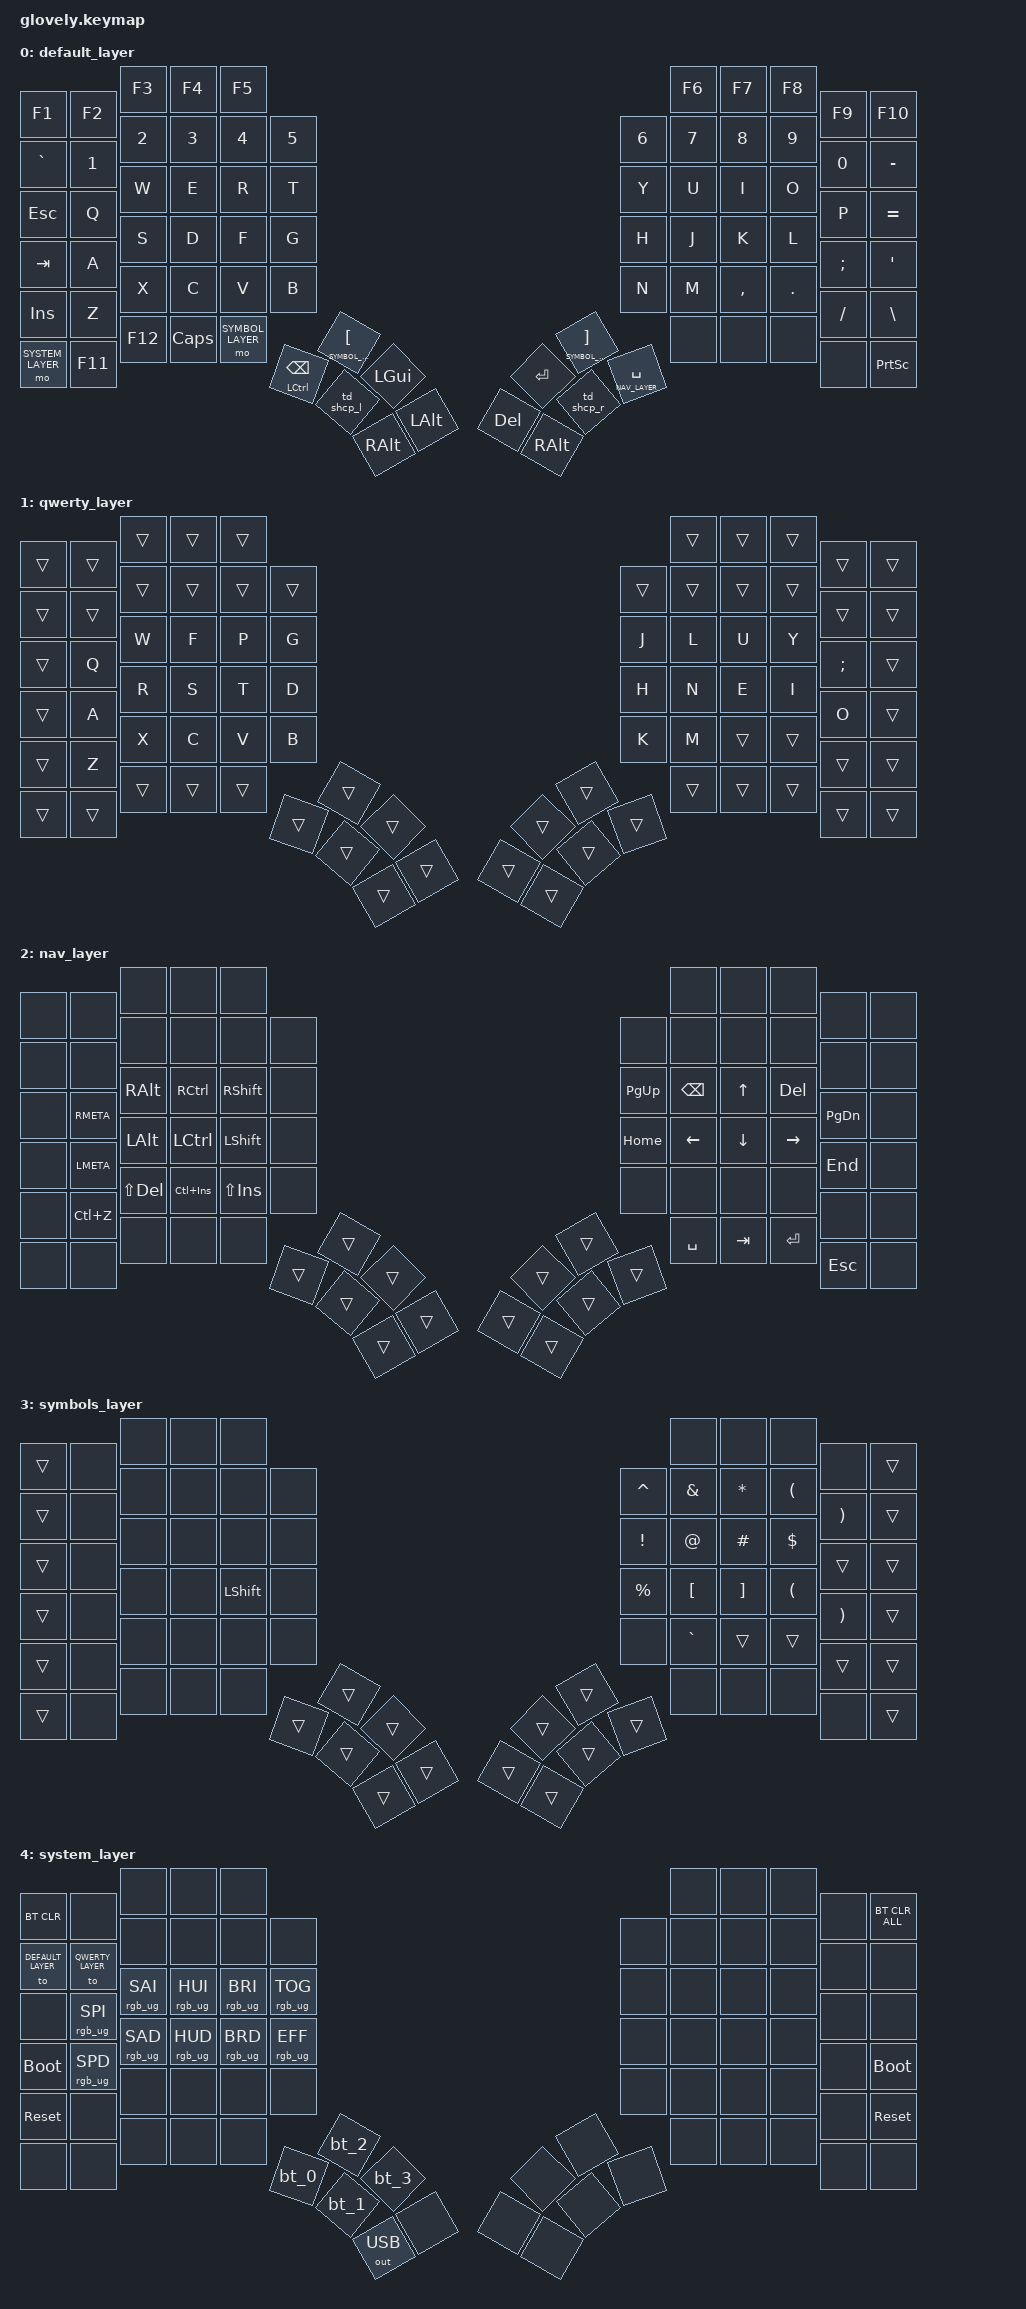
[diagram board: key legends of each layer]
#include <behaviors.dtsi>
#include <dt-bindings/zmk/keys.h>
#include <dt-bindings/zmk/bt.h>
#include <dt-bindings/zmk/ext_power.h>
#include <dt-bindings/zmk/outputs.h>
#include <dt-bindings/zmk/rgb.h>

// layers
#define DEFAULT_LAYER 0
#define QWERTY_LAYER 1
#define NAV_LAYER 2
#define SYMBOL_LAYER 3
#define SYSTEM_LAYER 4

//
// Glove80 key positions index for positional hold-tap
// - https: //discord.com/channels/877392805654306816/937645688244826154/1066713913351221248
// - https: //media.discordapp.net/attachments/937645688244826154/1066713913133121556/image.png
//
// |------------------------|------------------------|
// | LEFT_HAND_KEYS         |        RIGHT_HAND_KEYS |
// |                        |                        |
// |  0  1  2  3  4         |          5  6  7  8  9 |
// | 10 11 12 13 14 15      |      16 17 18 19 20 21 |
// | 22 23 24 25 26 27      |      28 29 30 31 32 33 |
// | 34 35 36 37 38 39      |      40 41 42 43 44 45 |
// | 46 47 48 49 50 51      |      58 59 60 61 62 63 |
// | 64 65 66 67 68         |         75 76 77 78 79 |
// |                69 52   |   57 74                |
// |                 70 53  |  56 73                 |
// |                  71 54 | 55 72                  |
// |------------------------|------------------------|
//
#define LEFT_HAND_KEYS \
0  1  2  3  4     \
10 11 12 13 14 15 \
22 23 24 25 26 27 \
34 35 36 37 38 39 \
46 47 48 49 50 51 \
64 65 66 67 68

#define RIGHT_HAND_KEYS \
5  6  7  8  9     \
16 17 18 19 20 21 \
28 29 30 31 32 33 \
40 41 42 43 44 45 \
58 59 60 61 62 63 \
75 76 77 78 79

#define THUMB_KEYS \
69 52 57 74 \
70 53 56 73 \
71 54 55 72
/ {
    behaviors {
        hrml: home_row_mod_left {
            compatible = "zmk,behavior-hold-tap";
            #binding-cells = <2>;
            flavor = "tap-preferred";
            require-prior-idle-ms = <300>;
            tapping-term-ms = <300>;
            quick-tap-ms = <175>;
            bindings = <&kp>, <&kp>;
            hold-trigger-key-positions = <RIGHT_HAND_KEYS THUMB_KEYS>; // List of keys on the right side of the keyboard
            hold-trigger-on-release;
            retro-tap;
        };
        hrmr: home_row_mod_right {
            compatible = "zmk,behavior-hold-tap";
            #binding-cells = <2>;
            flavor = "tap-preferred";
            require-prior-idle-ms = <300>;
            tapping-term-ms = <300>;
            quick-tap-ms = <175>;
            bindings = <&kp>, <&kp>;
            hold-trigger-key-positions = <LEFT_HAND_KEYS THUMB_KEYS>; // List of keys on the left side of the keyboard
            hold-trigger-on-release;
            retro-tap;
        };

        td_shcp_l: td_shift_caps_left {
            compatible = "zmk,behavior-tap-dance";
            #binding-cells = <0>;
            tapping-term-ms = <200>;
            bindings = <&kp LSHIFT>, <&caps_word>;
        };

        td_shcp_r: td_shift_caps_right {
            compatible = "zmk,behavior-tap-dance";
            #binding-cells = <0>;
            tapping-term-ms = <200>;
            bindings = <&kp RSHIFT>, <&caps_word>;
        };

        lt: layer_tap {
            compatible = "zmk,behavior-hold-tap";
            #binding-cells = <2>;
            flavor = "tap-preferred";
            tapping-term-ms = <200>;
            quick-tap-ms = <200>;
            bindings = <&mo>, <&kp>;
            display-name = "Layer-Tap";
        };

        mt: mod_tap {
            compatible = "zmk,behavior-hold-tap";
            #binding-cells = <2>;
            flavor = "tap-preferred";
            tapping-term-ms = <200>;
            quick-tap-ms = <200>;
            bindings = <&kp>, <&kp>;
            display-name = "Mod-Tap";
        };
    };

    macros {
        bt_0: bt_profile_macro_0 {
            compatible = "zmk,behavior-macro";
            #binding-cells = <0>;
            bindings = <&out OUT_BLE>,
                       <&bt BT_SEL 0>;
        };

        bt_1: bt_profile_macro_1 {
            compatible = "zmk,behavior-macro";
            #binding-cells = <0>;
            bindings = <&out OUT_BLE>,
                       <&bt BT_SEL 1>;
        };

        bt_2: bt_profile_macro_2 {
            compatible = "zmk,behavior-macro";
            #binding-cells = <0>;
            bindings = <&out OUT_BLE>,
                       <&bt BT_SEL 2>;
        };

        bt_3: bt_profile_macro_3 {
            compatible = "zmk,behavior-macro";
            #binding-cells = <0>;
            bindings = <&out OUT_BLE>,
                       <&bt BT_SEL 3>;
        };
    };

    keymap {
        compatible = "zmk,keymap";

        default_layer {
            bindings = <
            &kp F1            &kp F2   &kp F3   &kp F4    &kp F5                                                                                                                                         &kp F6  &kp F7     &kp F8   &kp F9    &kp F10
            &kp GRAVE         &kp N1   &kp N2   &kp N3    &kp N4            &kp N5                                                                                                               &kp N6  &kp N7  &kp N8     &kp N9   &kp N0    &kp MINUS
            &kp ESC           &kp Q    &kp W    &kp E     &kp R             &kp T                                                                                                                &kp Y   &kp U   &kp I      &kp O    &kp P     &kp EQUAL
            &kp TAB           &kp A    &kp S    &kp D     &kp F             &kp G                                                                                                                &kp H   &kp J   &kp K      &kp L    &kp SEMI  &kp SQT
            &kp INS           &kp Z    &kp X    &kp C     &kp V             &kp B   &lt SYMBOL_LAYER LEFT_BRACKET  &kp LGUI    &kp LALT    &kp DEL   &kp RET     &lt SYMBOL_LAYER RIGHT_BRACKET  &kp N   &kp M   &kp COMMA  &kp DOT  &kp FSLH  &kp BSLH
            &mo SYSTEM_LAYER  &kp F11  &kp F12  &kp CAPS  &mo SYMBOL_LAYER          &mt LCTRL BSPC                 &td_shcp_l  &kp RALT    &kp RALT  &td_shcp_r  &lt NAV_LAYER SPACE                     &none   &none      &none    &none     &kp PSCRN
            >;
        };

        qwerty_layer {
            bindings = <
            &trans  &trans  &trans  &trans  &trans                                                                 &trans  &trans  &trans  &trans    &trans
            &trans  &trans  &trans  &trans  &trans  &trans                                                 &trans  &trans  &trans  &trans  &trans    &trans
            &trans  &kp Q   &kp W   &kp F   &kp P   &kp G                                                  &kp J   &kp L   &kp U   &kp Y   &kp SEMI  &trans
            &trans  &kp A   &kp R   &kp S   &kp T   &kp D                                                  &kp H   &kp N   &kp E   &kp I   &kp O     &trans
            &trans  &kp Z   &kp X   &kp C   &kp V   &kp B  &trans  &trans  &trans  &trans  &trans  &trans  &kp K   &kp M   &trans  &trans  &trans    &trans
            &trans  &trans  &trans  &trans  &trans         &trans  &trans  &trans  &trans  &trans  &trans          &trans  &trans  &trans  &trans    &trans
            >;
        };

        nav_layer {
            bindings = <
            &none  &none      &none        &none        &none                                                                    &none      &none      &none      &none      &none
            &none  &none      &none        &none        &none        &none                                            &none      &none      &none      &none      &none      &none
            &none  &kp RMETA  &kp RALT     &kp RCTRL    &kp RSHIFT   &none                                            &kp PG_UP  &kp BSPC   &kp UP     &kp DEL    &kp PG_DN  &none
            &none  &kp LMETA  &kp LALT     &kp LCTRL    &kp LSHIFT   &none                                            &kp HOME   &kp LEFT   &kp DOWN   &kp RIGHT  &kp END    &none
            &none  &kp LC(Z)  &kp LS(DEL)  &kp LC(INS)  &kp LS(INS)  &none  &trans &trans &trans &trans &trans &trans &none      &none      &none      &none      &none      &none
            &none  &none      &none        &none        &none               &trans &trans &trans &trans &trans &trans            &kp SPACE  &kp TAB    &kp RET    &kp ESC    &none
            >;
        };

        symbols_layer {
            bindings = <
            &trans  &none  &none  &none  &none                                                                          &none             &none              &none                  &none                  &trans
            &trans  &none  &none  &none  &none       &none                                             &kp CARET        &kp AMPERSAND     &kp ASTERISK       &kp LEFT_PARENTHESIS   &kp RIGHT_PARENTHESIS  &trans
            &trans  &none  &none  &none  &none       &none                                             &kp EXCLAMATION  &kp AT_SIGN       &kp HASH           &kp DOLLAR             &trans                 &trans
            &trans  &none  &none  &none  &kp LSHIFT  &none                                             &kp PERCENT      &kp LEFT_BRACKET  &kp RIGHT_BRACKET  &kp LEFT_PARENTHESIS   &kp RIGHT_PARENTHESIS  &trans
            &trans  &none  &none  &none  &none       &none  &trans &trans &trans &trans &trans &trans  &none            &kp GRAVE         &trans             &trans                 &trans                 &trans
            &trans  &none  &none  &none  &none              &trans &trans &trans &trans &trans &trans                   &none             &none              &none                  &none                  &trans
            >;
        };

        system_layer {
            bindings = <
            &bt BT_CLR         &none             &none            &none            &none                                                                                       &none  &none  &none  &none  &bt BT_CLR_ALL
            &to DEFAULT_LAYER  &to QWERTY_LAYER  &none            &none            &none            &none                                                               &none  &none  &none  &none  &none  &none
            &none              &rgb_ug RGB_SPI   &rgb_ug RGB_SAI  &rgb_ug RGB_HUI  &rgb_ug RGB_BRI  &rgb_ug RGB_TOG                                                     &none  &none  &none  &none  &none  &none
            &bootloader        &rgb_ug RGB_SPD   &rgb_ug RGB_SAD  &rgb_ug RGB_HUD  &rgb_ug RGB_BRD  &rgb_ug RGB_EFF                                                     &none  &none  &none  &none  &none  &bootloader
            &sys_reset         &none             &none            &none            &none            &none            &bt_2  &bt_3  &none           &none  &none  &none  &none  &none  &none  &none  &none  &sys_reset
            &none              &none             &none            &none            &none                             &bt_0  &bt_1  &out OUT_USB    &none  &none  &none         &none  &none  &none  &none  &none
            >;
        };

        // empty_layer {
            //     bindings = <
            //     &none  &none  &none  &none  &none                                                          &none  &none  &none  &none  &none
            //     &none  &none  &none  &none  &none  &none                                            &none  &none  &none  &none  &none  &none
            //     &none  &none  &none  &none  &none  &none                                            &none  &none  &none  &none  &none  &none
            //     &none  &none  &none  &none  &none  &none                                            &none  &none  &none  &none  &none  &none
            //     &none  &none  &none  &none  &none  &none  &none  &none  &none  &none  &none  &none  &none  &none  &none  &none  &none  &none
            //     &none  &none  &none  &none  &none         &none  &none  &none  &none  &none  &none         &none  &none  &none  &none  &none
            //     >;
        // };

        // trans_layer {
            //     bindings = <
            //     &trans  &trans  &trans  &trans  &trans                                                                  &trans  &trans  &trans  &trans  &trans
            //     &trans  &trans  &trans  &trans  &trans  &trans                                                  &trans  &trans  &trans  &trans  &trans  &trans
            //     &trans  &trans  &trans  &trans  &trans  &trans                                                  &trans  &trans  &trans  &trans  &trans  &trans
            //     &trans  &trans  &trans  &trans  &trans  &trans                                                  &trans  &trans  &trans  &trans  &trans  &trans
            //     &trans  &trans  &trans  &trans  &trans  &trans  &trans  &trans  &trans  &trans  &trans  &trans  &trans  &trans  &trans  &trans  &trans  &trans
            //     &trans  &trans  &trans  &trans  &trans          &trans  &trans  &trans  &trans  &trans  &trans          &trans  &trans  &trans  &trans  &trans
            //     >;
        // };
    };
};
